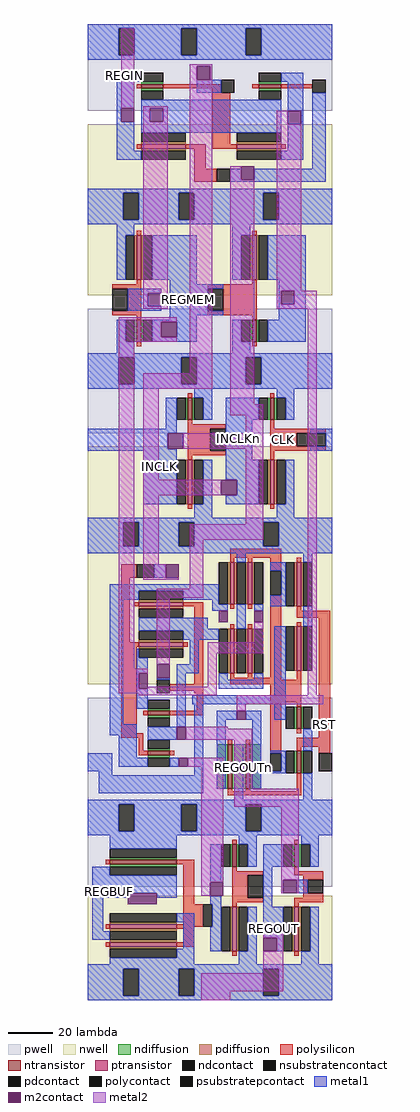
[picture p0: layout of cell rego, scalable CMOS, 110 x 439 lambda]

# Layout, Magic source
magic
tech scmos
<< pwell >>
rect 0 240 110 279
rect 0 95 110 151
rect 0 -109 110 -24
<< nwell >>
rect 0 157 110 234
rect 0 -18 110 89
rect 0 -160 110 -113
<< polysilicon >>
rect 22 250 24 252
rect 34 250 60 252
rect 56 248 60 250
rect 74 250 77 252
rect 87 250 101 252
rect 56 225 64 248
rect 22 223 24 225
rect 44 223 53 225
rect 56 223 67 225
rect 87 223 89 225
rect 48 214 53 223
rect 48 208 58 214
rect 22 184 24 186
rect 74 184 76 186
rect 22 162 24 164
rect 74 162 76 164
rect 11 160 24 162
rect 18 150 24 160
rect 11 148 24 150
rect 54 160 76 162
rect 61 150 76 160
rect 54 148 76 150
rect 22 146 24 148
rect 74 146 76 148
rect 22 134 24 136
rect 74 134 76 136
rect 45 111 47 113
rect 82 111 84 113
rect 45 99 47 101
rect 45 97 62 99
rect 45 87 55 97
rect 45 85 62 87
rect 82 97 84 101
rect 82 95 107 97
rect 82 89 94 95
rect 82 87 107 89
rect 45 83 47 85
rect 82 83 84 87
rect 45 61 47 63
rect 82 61 84 63
rect 64 39 87 43
rect 64 37 66 39
rect 72 37 74 39
rect 15 30 22 36
rect 15 1 19 30
rect 21 17 23 19
rect 43 17 52 19
rect 82 33 87 39
rect 94 37 96 39
rect 15 -1 23 1
rect 43 -1 45 1
rect 15 -40 22 -1
rect 48 -18 52 17
rect 64 16 66 18
rect 72 16 74 18
rect 64 7 66 9
rect 72 7 74 9
rect 64 -15 66 -13
rect 72 -15 74 -13
rect 82 -15 87 22
rect 94 15 96 17
rect 94 12 109 15
rect 94 8 96 10
rect 64 -16 87 -15
rect 94 -16 96 -12
rect 64 -18 96 -16
rect 37 -21 52 -18
rect 48 -22 52 -21
rect 49 -30 52 -22
rect 25 -32 27 -30
rect 37 -32 52 -30
rect 82 -26 96 -18
rect 15 -42 25 -40
rect 23 -48 25 -42
rect 63 -45 65 -43
rect 71 -45 73 -43
rect 23 -50 27 -48
rect 37 -50 39 -48
rect 82 -49 87 -26
rect 94 -28 96 -26
rect 94 -40 96 -38
rect 104 -42 109 12
rect 94 -46 109 -42
rect 94 -48 96 -46
rect 104 -49 109 -46
rect 63 -66 65 -65
rect 71 -66 73 -65
rect 94 -66 96 -58
rect 63 -68 96 -66
rect 65 -90 67 -88
rect 93 -90 95 -88
rect 8 -99 10 -97
rect 40 -99 48 -97
rect 43 -117 48 -99
rect 65 -102 67 -100
rect 93 -102 95 -100
rect 65 -104 79 -102
rect 93 -104 106 -102
rect 65 -114 72 -104
rect 97 -106 106 -104
rect 97 -112 99 -106
rect 97 -114 106 -112
rect 65 -116 79 -114
rect 93 -116 106 -114
rect 43 -126 52 -117
rect 8 -128 10 -126
rect 40 -127 52 -126
rect 65 -118 67 -116
rect 93 -118 95 -116
rect 40 -128 48 -127
rect 43 -134 48 -128
rect 8 -136 10 -134
rect 40 -136 48 -134
rect 65 -140 67 -138
rect 93 -140 95 -138
<< ndiffusion >>
rect 24 252 34 253
rect 24 249 34 250
rect 77 252 87 253
rect 77 249 87 250
rect 21 136 22 146
rect 24 136 25 146
rect 73 136 74 146
rect 76 136 77 146
rect 44 101 45 111
rect 47 101 48 111
rect 81 101 82 111
rect 84 101 85 111
rect 27 -30 37 -29
rect 27 -33 37 -32
rect 27 -48 37 -47
rect 27 -51 37 -50
rect 58 -65 63 -45
rect 65 -65 71 -45
rect 73 -65 78 -45
rect 93 -38 94 -28
rect 96 -38 97 -28
rect 93 -58 94 -48
rect 96 -58 97 -48
rect 10 -97 40 -96
rect 10 -100 40 -99
rect 64 -100 65 -90
rect 67 -100 68 -90
rect 92 -100 93 -90
rect 95 -100 96 -90
<< pdiffusion >>
rect 24 225 44 226
rect 67 225 87 226
rect 24 222 44 223
rect 67 222 87 223
rect 21 164 22 184
rect 24 164 25 184
rect 73 164 74 184
rect 76 164 77 184
rect 44 63 45 83
rect 47 63 48 83
rect 81 63 82 83
rect 84 63 85 83
rect 23 19 43 20
rect 63 18 64 37
rect 66 18 67 37
rect 71 18 72 37
rect 74 18 75 37
rect 23 16 43 17
rect 23 1 43 2
rect 23 -2 43 -1
rect 63 -13 64 7
rect 66 -13 67 7
rect 71 -13 72 7
rect 74 -13 75 7
rect 93 17 94 37
rect 96 17 97 37
rect 93 -12 94 8
rect 96 -12 97 8
rect 10 -126 40 -125
rect 10 -129 40 -128
rect 10 -134 40 -133
rect 10 -137 40 -136
rect 64 -138 65 -118
rect 67 -138 68 -118
rect 92 -138 93 -118
rect 95 -138 96 -118
<< metal1 >>
rect 0 277 110 279
rect 0 265 14 277
rect 21 265 42 277
rect 49 265 71 277
rect 78 265 110 277
rect 0 263 110 265
rect 13 253 24 257
rect 13 241 21 253
rect 13 235 15 241
rect 13 222 21 235
rect 49 248 60 254
rect 87 253 97 257
rect 24 241 87 245
rect 24 235 28 241
rect 34 235 87 241
rect 24 230 87 235
rect 90 240 97 253
rect 96 234 97 240
rect 90 222 97 234
rect 13 218 24 222
rect 87 218 97 222
rect 64 209 69 214
rect 101 214 107 248
rect 75 209 107 214
rect 64 208 107 209
rect 0 203 110 205
rect 0 191 16 203
rect 23 191 41 203
rect 48 191 79 203
rect 86 191 110 203
rect 0 189 110 191
rect 13 184 21 189
rect 65 184 73 189
rect 13 164 17 184
rect 29 164 49 184
rect 65 164 69 184
rect 81 164 98 184
rect 37 162 49 164
rect 37 160 61 162
rect 18 158 33 160
rect 18 152 27 158
rect 18 150 33 152
rect 37 150 54 160
rect 37 148 61 150
rect 86 159 98 164
rect 86 153 87 159
rect 93 153 98 159
rect 37 146 49 148
rect 86 146 98 153
rect 13 136 17 146
rect 29 145 49 146
rect 29 138 33 145
rect 40 138 49 145
rect 29 136 49 138
rect 65 136 69 146
rect 81 136 98 146
rect 13 131 21 136
rect 65 131 73 136
rect 0 129 110 131
rect 0 117 14 129
rect 21 117 42 129
rect 49 117 71 129
rect 78 117 110 129
rect 0 115 110 117
rect 48 111 56 115
rect 85 111 93 115
rect 35 97 40 111
rect 52 101 56 111
rect 62 101 77 111
rect 89 101 93 111
rect 0 95 40 97
rect 0 88 36 95
rect 0 87 40 88
rect 25 63 40 87
rect 62 83 74 101
rect 100 95 110 97
rect 107 89 110 95
rect 100 87 110 89
rect 52 63 56 83
rect 62 74 77 83
rect 67 67 77 74
rect 62 63 77 67
rect 89 63 93 83
rect 48 57 56 63
rect 85 57 93 63
rect 0 55 110 57
rect 0 44 16 55
rect 23 44 41 55
rect 48 44 79 55
rect 86 44 110 55
rect 0 41 110 44
rect 67 37 71 41
rect 97 37 101 41
rect 30 30 35 36
rect 10 24 59 27
rect 10 20 23 24
rect 43 20 59 24
rect 10 -36 16 20
rect 56 18 59 20
rect 56 15 63 18
rect 23 7 54 12
rect 67 7 71 18
rect 75 15 79 18
rect 82 33 89 37
rect 87 22 89 33
rect 82 17 89 22
rect 97 8 101 17
rect 23 6 59 7
rect 43 2 59 6
rect 22 -6 23 -2
rect 22 -13 27 -6
rect 46 -9 50 2
rect 22 -20 23 -13
rect 22 -29 27 -20
rect 31 -16 37 -15
rect 40 -13 50 -9
rect 10 -41 22 -36
rect 0 -57 11 -49
rect 14 -51 22 -41
rect 40 -37 44 -13
rect 59 -16 63 -13
rect 75 -16 79 -13
rect 59 -20 79 -16
rect 84 -23 89 8
rect 47 -27 89 -23
rect 27 -43 40 -37
rect 14 -55 27 -51
rect 37 -55 41 -51
rect 5 -59 11 -57
rect 48 -59 52 -27
rect 5 -67 52 -59
rect 58 -34 67 -30
rect 71 -34 78 -30
rect 84 -34 89 -27
rect 58 -65 62 -34
rect 66 -70 70 -45
rect 74 -65 78 -34
rect 97 -48 101 -38
rect 82 -49 89 -48
rect 87 -57 89 -49
rect 82 -58 89 -57
rect 97 -70 101 -58
rect 0 -72 110 -70
rect 0 -84 14 -72
rect 21 -84 42 -72
rect 49 -84 71 -72
rect 78 -84 110 -72
rect 0 -86 110 -84
rect 10 -92 40 -86
rect 68 -90 76 -86
rect 96 -90 104 -86
rect 2 -104 10 -100
rect 2 -112 40 -104
rect 2 -114 18 -112
rect 2 -129 7 -114
rect 31 -114 40 -112
rect 55 -107 60 -90
rect 72 -100 76 -90
rect 79 -100 88 -90
rect 100 -100 104 -90
rect 55 -117 60 -113
rect 40 -125 48 -121
rect 2 -133 10 -129
rect 43 -137 48 -125
rect 56 -127 60 -117
rect 79 -118 83 -100
rect 94 -112 99 -106
rect 40 -141 48 -137
rect 55 -138 60 -127
rect 72 -138 76 -118
rect 79 -132 88 -118
rect 85 -138 88 -132
rect 100 -138 104 -118
rect 10 -144 48 -141
rect 68 -144 76 -138
rect 96 -144 104 -138
rect 0 -146 110 -144
rect 0 -158 16 -146
rect 23 -158 41 -146
rect 48 -158 79 -146
rect 86 -158 110 -146
rect 0 -160 110 -158
<< metal2 >>
rect 15 241 21 277
rect 46 260 56 261
rect 46 254 49 260
rect 55 254 56 260
rect 25 241 36 242
rect 25 235 28 241
rect 34 235 36 241
rect 25 158 36 235
rect 25 152 27 158
rect 33 152 36 158
rect 25 151 36 152
rect 14 145 40 147
rect 14 138 33 145
rect 14 136 40 138
rect 14 -11 21 136
rect 46 122 56 254
rect 85 234 90 240
rect 25 115 56 122
rect 64 209 69 215
rect 25 74 32 115
rect 64 108 75 209
rect 85 159 96 234
rect 85 153 87 159
rect 93 153 103 159
rect 85 151 103 153
rect 64 103 79 108
rect 71 95 79 103
rect 43 88 79 95
rect 25 67 60 74
rect 25 36 32 67
rect 71 54 79 88
rect 46 47 79 54
rect 25 30 35 36
rect 25 29 41 30
rect 46 25 52 47
rect 31 21 52 25
rect 31 -9 37 21
rect 75 1 79 10
rect 14 -13 27 -11
rect 14 -20 23 -13
rect 54 -4 79 1
rect 54 -19 58 -4
rect 27 -20 58 -19
rect 14 -22 58 -20
rect 23 -23 58 -22
rect 99 -23 103 151
rect 67 -27 106 -23
rect 67 -30 71 -27
rect 44 -38 63 -37
rect 44 -43 74 -38
rect 45 -55 61 -51
rect 51 -107 61 -55
rect 66 -65 74 -43
rect 66 -73 95 -65
rect 51 -113 55 -107
rect 87 -106 95 -73
rect 87 -112 88 -106
rect 94 -112 95 -106
rect 79 -132 88 -130
rect 85 -138 88 -132
rect 79 -148 88 -138
rect 51 -156 88 -148
rect 51 -160 64 -156
<< ntransistor >>
rect 24 250 34 252
rect 77 250 87 252
rect 22 136 24 146
rect 74 136 76 146
rect 45 101 47 111
rect 82 101 84 111
rect 27 -32 37 -30
rect 27 -50 37 -48
rect 63 -65 65 -45
rect 71 -65 73 -45
rect 94 -38 96 -28
rect 94 -58 96 -48
rect 10 -99 40 -97
rect 65 -100 67 -90
rect 93 -100 95 -90
<< ptransistor >>
rect 24 223 44 225
rect 67 223 87 225
rect 22 164 24 184
rect 74 164 76 184
rect 45 63 47 83
rect 82 63 84 83
rect 23 17 43 19
rect 64 18 66 37
rect 72 18 74 37
rect 23 -1 43 1
rect 64 -13 66 7
rect 72 -13 74 7
rect 94 17 96 37
rect 94 -12 96 8
rect 10 -128 40 -126
rect 10 -136 40 -134
rect 65 -138 67 -118
rect 93 -138 95 -118
<< polycontact >>
rect 60 248 66 254
rect 101 248 107 254
rect 58 208 64 214
rect 11 150 18 160
rect 54 150 61 160
rect 55 87 62 97
rect 94 89 107 95
rect 22 30 30 36
rect 82 22 87 33
rect 31 -22 37 -16
rect 82 -57 87 -49
rect 104 -57 110 -49
rect 72 -114 79 -104
rect 99 -112 106 -106
rect 52 -127 56 -117
<< ndcontact >>
rect 24 253 34 257
rect 24 245 34 249
rect 77 253 87 257
rect 77 245 87 249
rect 17 136 21 146
rect 25 136 29 146
rect 69 136 73 146
rect 77 136 81 146
rect 40 101 44 111
rect 48 101 52 111
rect 77 101 81 111
rect 85 101 89 111
rect 27 -29 37 -25
rect 27 -37 37 -33
rect 27 -47 37 -43
rect 27 -55 37 -51
rect 89 -38 93 -28
rect 97 -38 101 -28
rect 89 -58 93 -48
rect 97 -58 101 -48
rect 10 -96 40 -92
rect 10 -104 40 -100
rect 60 -100 64 -90
rect 68 -100 72 -90
rect 88 -100 92 -90
rect 96 -100 100 -90
<< pdcontact >>
rect 24 226 44 230
rect 67 226 87 230
rect 24 218 44 222
rect 67 218 87 222
rect 17 164 21 184
rect 25 164 29 184
rect 69 164 73 184
rect 77 164 81 184
rect 40 63 44 83
rect 48 63 52 83
rect 77 63 81 83
rect 85 63 89 83
rect 23 20 43 24
rect 59 18 63 37
rect 67 18 71 37
rect 75 18 79 37
rect 23 12 43 16
rect 23 2 43 6
rect 23 -6 43 -2
rect 59 -13 63 7
rect 67 -13 71 7
rect 75 -13 79 7
rect 89 17 93 37
rect 97 17 101 37
rect 89 -12 93 8
rect 97 -12 101 8
rect 10 -125 40 -121
rect 10 -133 40 -129
rect 10 -141 40 -137
rect 60 -138 64 -118
rect 68 -138 72 -118
rect 88 -138 92 -118
rect 96 -138 100 -118
<< m2contact >>
rect 49 254 55 260
rect 15 235 21 241
rect 28 235 34 241
rect 90 234 96 240
rect 69 209 75 215
rect 27 152 33 158
rect 87 153 93 159
rect 33 138 40 145
rect 36 88 43 95
rect 60 67 67 74
rect 35 30 41 36
rect 59 10 63 15
rect 75 10 79 15
rect 23 -20 27 -13
rect 31 -15 37 -9
rect 40 -43 44 -37
rect 41 -55 45 -51
rect 67 -34 71 -30
rect 18 -117 31 -112
rect 55 -113 61 -107
rect 88 -112 94 -106
rect 79 -138 85 -132
<< psubstratepcontact >>
rect 14 265 21 277
rect 42 265 49 277
rect 71 265 78 277
rect 14 117 21 129
rect 42 117 49 129
rect 71 117 78 129
rect 14 -84 21 -72
rect 42 -84 49 -72
rect 71 -84 78 -72
<< nsubstratencontact >>
rect 16 191 23 203
rect 41 191 48 203
rect 79 191 86 203
rect 16 44 23 55
rect 41 44 48 55
rect 79 44 86 55
rect 16 -158 23 -146
rect 41 -158 48 -146
rect 79 -158 86 -146
<< labels >>
rlabel metal1 37 148 54 162 0 REGMEM
rlabel metal1 62 74 74 111 0 INCLKn
rlabel metal1 25 63 40 97 0 INCLK
rlabel polysilicon 82 87 94 97 0 CLK
rlabel metal1 79 -138 88 -118 0 REGOUT
rlabel metal1 2 -114 18 -108 0 REGBUF
rlabel space 12 233 21 279 0 REGIN
rlabel polysilicon 104 -46 109 -26 0 RST
rlabel metal2 66 -73 74 -38 1 REGOUTn
rlabel space 592 -854 598 -818 8 qregin
<< end >>
